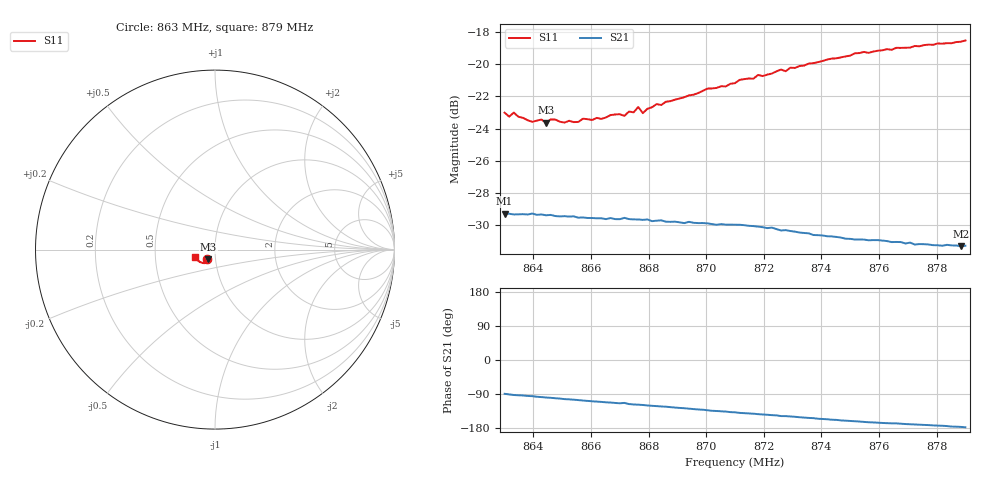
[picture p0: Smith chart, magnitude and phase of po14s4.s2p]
# HZ S RI R 50
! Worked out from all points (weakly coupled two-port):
!   101 points, 863 MHz to 879 MHz, reference 50 ohm
!   highest |S21| = -29.29 dB at 863 MHz (marker M1); lowest = -31.3 dB at 878.84 MHz (marker M2)
!   lowest |S11| = -23.6 dB at 864.44 MHz (marker M3), VSWR 1.14, Z = 46.1 - j4.97 ohm
!   |S11| at or under -10 dB: start of sweep to end of sweep
!   S12 and S22 are empty: the file has one direction only
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8.63e8  -0.0454 -0.0542  0.000461 -0.0343  0 0  0 0
8.6316e8  -0.043 -0.0537  -0.00048 -0.0343  0 0  0 0
8.6332e8  -0.0444 -0.0551  -0.00139 -0.0341  0 0  0 0
8.6396e8  -0.0389 -0.0536  -0.00324 -0.0342  0 0  0 0
8.6428e8  -0.0388 -0.0551  -0.00468 -0.0338  0 0  0 0
8.6444e8  -0.0381 -0.0536  -0.00526 -0.0335  0 0  0 0
8.646e8  -0.0377 -0.0559  -0.00579 -0.0335  0 0  0 0
8.6508e8  -0.0354 -0.0556  -0.00769 -0.0328  0 0  0 0
8.6572e8  -0.0351 -0.0579  -0.00974 -0.0319  0 0  0 0
8.6716e8  -0.0312 -0.0617  -0.0131 -0.0306  0 0  0 0
8.6748e8  -0.0341 -0.0622  -0.0151 -0.0292  0 0  0 0
8.6764e8  -0.0365 -0.064  -0.0154 -0.0291  0 0  0 0
8.678e8  -0.0347 -0.0614  -0.0158 -0.0288  0 0  0 0
8.6828e8  -0.0367 -0.0657  -0.0171 -0.0277  0 0  0 0
8.6844e8  -0.0368 -0.065  -0.0176 -0.0275  0 0  0 0
8.7004e8  -0.0432 -0.0721  -0.0216 -0.0236  0 0  0 0
8.71e8  -0.048 -0.0731  -0.0235 -0.0212  0 0  0 0
8.7372e8  -0.067 -0.0754  -0.0263 -0.0131  0 0  0 0
8.7516e8  -0.0825 -0.0701  -0.027 -0.00898  0 0  0 0
8.7644e8  -0.0921 -0.0621  -0.0273 -0.00623  0 0  0 0
8.7884e8  -0.1101 -0.0415  -0.0271 -0.00162  0 0  0 0
8.79e8  -0.112 -0.0393  -0.0272 -0.00118  0 0  0 0
